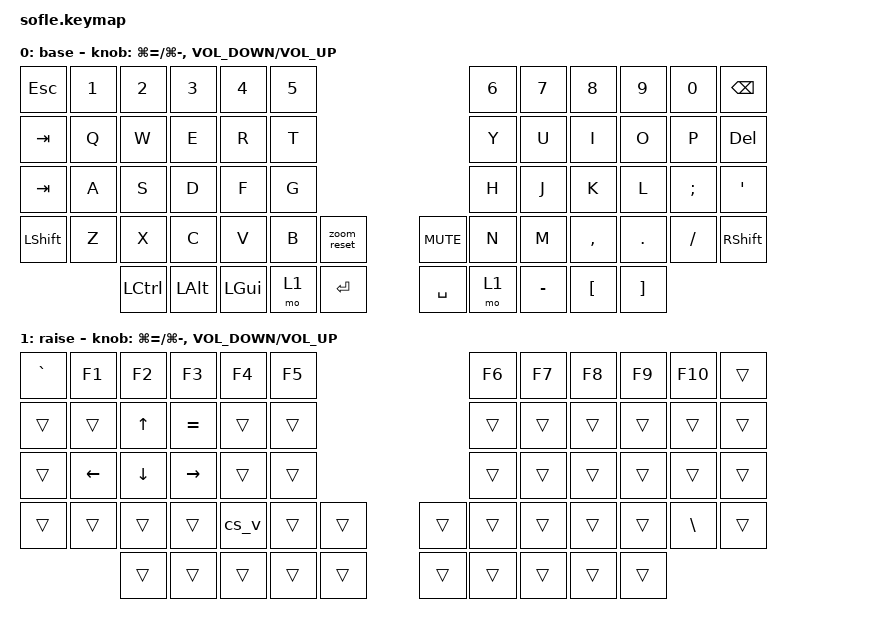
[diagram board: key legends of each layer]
/*
 * Copyright (c) 2020 The ZMK Contributors
 * SPDX-License-Identifier: MIT
 */

#include <behaviors.dtsi>
#include <dt-bindings/zmk/keys.h>
#include <dt-bindings/zmk/bt.h>
#include <dt-bindings/zmk/ext_power.h>

&nice_view_spi {
    cs-gpios = <&pro_micro 4 GPIO_ACTIVE_HIGH>;
};

/ {
    behaviors {
        cs_v: ctrl_shift_v {
            compatible = "zmk,behavior-macro";
            #binding-cells = <0>;
            bindings =
                <&macro_press &kp LGUI &kp LSHFT>,
                <&macro_tap &kp V>,
                <&macro_release &kp LSHFT &kp LGUI>;
        };

        zoom_reset: zoom_reset {
            compatible = "zmk,behavior-macro";
            #binding-cells = <0>;
            bindings =
                <&macro_press &kp LGUI>,
                <&macro_tap &kp N0>,
                <&macro_release &kp LGUI>;
        };
    };

    keymap {
        compatible = "zmk,keymap";

        // ------------------------------------------------------------
        // BASE LAYER
        // ------------------------------------------------------------
        default_layer {
            display-name = "base";

            bindings = <
                &kp ESC   &kp N1 &kp N2 &kp N3 &kp N4 &kp N5        &kp N6 &kp N7 &kp N8 &kp N9 &kp N0 &kp BSPC
                &kp TAB   &kp Q  &kp W  &kp E  &kp R  &kp T         &kp Y  &kp U  &kp I  &kp O  &kp P  &kp DEL
                &kp TAB   &kp A  &kp S  &kp D  &kp F  &kp G         &kp H  &kp J  &kp K  &kp L  &kp SEMI &kp SQT
                &kp LSHFT &kp Z  &kp X  &kp C  &kp V  &kp B  &zoom_reset  &kp C_MUTE  &kp N  &kp M  &kp COMMA &kp DOT &kp FSLH &kp RSHFT
                &kp LCTRL &kp LALT &kp LGUI &mo 1 &kp RET       &kp SPACE &mo 1 &kp MINUS &kp LBKT &kp RBKT
            >;

            sensor-bindings = <
                &inc_dec_kp LG(EQUAL) LG(MINUS)
                &inc_dec_kp C_VOLUME_DOWN C_VOLUME_UP
            >;
        };

        // ------------------------------------------------------------
        // RAISE LAYER
        // ------------------------------------------------------------
        raise_layer {
            display-name = "raise";

            bindings = <
                &kp GRAVE &kp F1 &kp F2 &kp F3 &kp F4 &kp F5        &kp F6 &kp F7 &kp F8 &kp F9 &kp F10 &trans
                &trans &trans &kp UP &kp EQUAL &trans &trans           &trans &trans &trans &trans &trans &trans
                &trans &kp LEFT &kp DOWN &kp RIGHT &trans &trans      &trans &trans &trans &trans &trans &trans
                &trans &trans &trans &trans &cs_v &trans  &trans  &trans  &trans &trans &trans &trans &kp BSLH &trans
                &trans &trans &trans &trans &trans                     &trans &trans &trans &trans &trans
            >;

            sensor-bindings = <
                &inc_dec_kp LG(EQUAL) LG(MINUS)
                &inc_dec_kp C_VOLUME_DOWN C_VOLUME_UP
            >;
        };
    };
};
